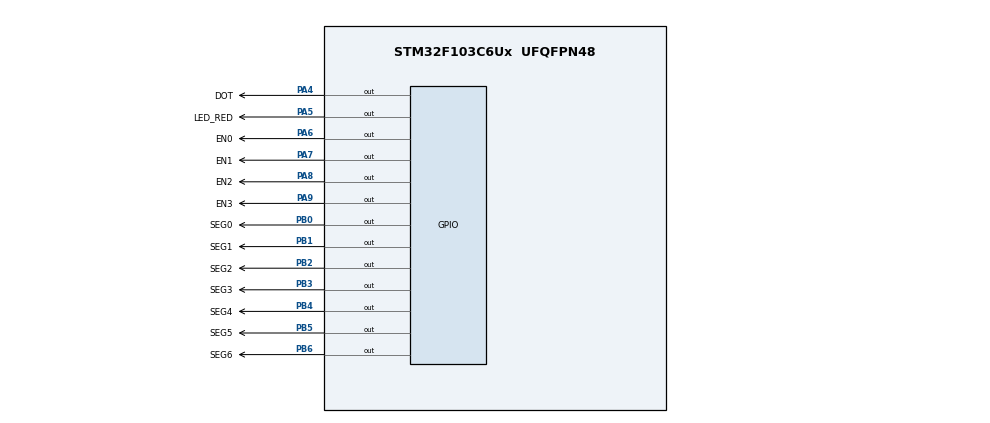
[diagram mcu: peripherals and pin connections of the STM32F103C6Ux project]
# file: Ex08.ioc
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Mcu.Family=STM32F1
Mcu.Name=STM32F103C6Ux
Mcu.Package=UFQFPN48
NVIC.PriorityGroup=NVIC_PRIORITYGROUP_4
NVIC.TIM2_IRQn=true\:0\:0\:false\:false\:true\:true\:true
PA4.GPIO_Label=DOT
PA4.Signal=GPIO_Output
PA5.GPIO_Label=LED_RED
PA5.Signal=GPIO_Output
PA6.GPIO_Label=EN0
PA6.Signal=GPIO_Output
PA7.GPIO_Label=EN1
PA7.Signal=GPIO_Output
PA8.GPIO_Label=EN2
PA8.Signal=GPIO_Output
PA9.GPIO_Label=EN3
PA9.Signal=GPIO_Output
PB0.GPIO_Label=SEG0
PB0.Signal=GPIO_Output
PB1.GPIO_Label=SEG1
PB1.Signal=GPIO_Output
PB2.GPIO_Label=SEG2
PB2.Signal=GPIO_Output
PB3.GPIO_Label=SEG3
PB3.Signal=GPIO_Output
PB4.GPIO_Label=SEG4
PB4.Signal=GPIO_Output
PB5.GPIO_Label=SEG5
PB5.Signal=GPIO_Output
PB6.GPIO_Label=SEG6
PB6.Signal=GPIO_Output
ProjectManager.HeapSize=0x200
ProjectManager.StackSize=0x400
ProjectManager.TargetToolchain=STM32CubeIDE
RCC.APB1Freq_Value=8000000
RCC.APB2Freq_Value=8000000
TIM2.Period=9
TIM2.Prescaler=7999
VP_SYS_VS_ND.Mode=No_Debug
VP_TIM2_VS_ClockSourceINT.Mode=Internal
board=custom

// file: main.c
/* USER CODE BEGIN Header */
/**
  ******************************************************************************
  * @file           : main.c
  * @brief          : Main program body
  ******************************************************************************
  * @attention
  *
  * <h2><center>&copy; Copyright (c) 2024 STMicroelectronics.
  * All rights reserved.</center></h2>
  *
  * This software component is licensed by ST under BSD 3-Clause license,
  * the "License"; You may not use this file except in compliance with the
  * License. You may obtain a copy of the License at:
  *                        opensource.org/licenses/BSD-3-Clause
  *
  ******************************************************************************
  */
/* USER CODE END Header */
#include "main.h"

TIM_HandleTypeDef htim2;

/* USER CODE BEGIN PV */
const int MAX_LED = 4;
int index_led = 0;
int led_buffer[4] = {1 , 5 , 0 , 8};
int hour = 15 , minute = 8 , second = 50;
/* USER CODE END PV */

void SystemClock_Config(void);
static void MX_GPIO_Init(void);
static void MX_TIM2_Init(void);
/* USER CODE BEGIN PFP */
void updateClockBuffer(void);
void display7SEG(int);
void update7SEG(int);
/* USER CODE END PFP */

/* USER CODE BEGIN 0 */
int timer0_counter = 0;
int timer0_flag = 0;
int timer1_counter = 0;
int timer1_flag = 0;
int timer2_counter = 0;
int timer2_flag = 0;
int TIMER_CYCLE = 10;
void setTimer0(int  duration){
	timer0_counter = duration / TIMER_CYCLE;
	timer0_flag = 0;
}
void setTimer1(int  duration){
	timer1_counter = duration / TIMER_CYCLE;
	timer1_flag = 0;
}
void setTimer2(int  duration){
	timer2_counter = duration / TIMER_CYCLE;
	timer2_flag = 0;
}
void timer_run(){
	if(timer0_counter > 0){
		timer0_counter--;
		if(timer0_counter == 0) timer0_flag = 1;
	}
	if(timer1_counter > 0){
		timer1_counter--;
		if(timer1_counter == 0) timer1_flag = 1;
	}
	if(timer2_counter > 0){
			timer2_counter--;
			if(timer2_counter == 0) timer1_flag = 1;
		}
}
/* USER CODE END 0 */

int main(void)
{

  /* MCU Configuration--------------------------------------------------------*/

  /* Reset of all peripherals, Initializes the Flash interface and the Systick. */
  HAL_Init();

  /* Configure the system clock */
  SystemClock_Config();

  /* Initialize all configured peripherals */
  MX_GPIO_Init();
  MX_TIM2_Init();
  /* USER CODE BEGIN 2 */
  HAL_TIM_Base_Start_IT(&htim2);
  /* USER CODE END 2 */

  /* Infinite loop */
  /* USER CODE BEGIN WHILE */
  setTimer0(1000);
  setTimer1(1000);
  setTimer2(1000);
  while (1)
  {
    /* USER CODE END WHILE */
	  if(timer0_flag == 1){

		  second++;
		  if (second >= 60)
		  {
			  second = 0;
			  minute++;
		  }
		  if (minute >= 60){
			  minute =0;
			  hour++;
		  }
		  if (hour >= 24){
			  hour=0;
		  }

		  updateClockBuffer();
		  setTimer0(2000);
	   }
	   if (timer1_flag == 1){
		   HAL_GPIO_TogglePin(GPIOA,DOT_Pin);
		   setTimer1(2000);
	   }
	   if (timer2_flag == 1){
 		  update7SEG(index_led++);
 		  setTimer2(2000);

	   }
  }
}

void SystemClock_Config(void)
{
  RCC_OscInitTypeDef RCC_OscInitStruct = {0};
  RCC_ClkInitTypeDef RCC_ClkInitStruct = {0};

  /** Initializes the RCC Oscillators according to the specified parameters
  * in the RCC_OscInitTypeDef structure.
  */
  RCC_OscInitStruct.OscillatorType = RCC_OSCILLATORTYPE_HSI;
  RCC_OscInitStruct.HSIState = RCC_HSI_ON;
  RCC_OscInitStruct.HSICalibrationValue = RCC_HSICALIBRATION_DEFAULT;
  RCC_OscInitStruct.PLL.PLLState = RCC_PLL_NONE;
  if (HAL_RCC_OscConfig(&RCC_OscInitStruct) != HAL_OK)
  {
    Error_Handler();
  }
  /** Initializes the CPU, AHB and APB buses clocks
  */
  RCC_ClkInitStruct.ClockType = RCC_CLOCKTYPE_HCLK|RCC_CLOCKTYPE_SYSCLK
                              |RCC_CLOCKTYPE_PCLK1|RCC_CLOCKTYPE_PCLK2;
  RCC_ClkInitStruct.SYSCLKSource = RCC_SYSCLKSOURCE_HSI;
  RCC_ClkInitStruct.AHBCLKDivider = RCC_SYSCLK_DIV1;
  RCC_ClkInitStruct.APB1CLKDivider = RCC_HCLK_DIV1;
  RCC_ClkInitStruct.APB2CLKDivider = RCC_HCLK_DIV1;

  if (HAL_RCC_ClockConfig(&RCC_ClkInitStruct, FLASH_LATENCY_0) != HAL_OK)
  {
    Error_Handler();
  }
}

static void MX_TIM2_Init(void)
{

  TIM_ClockConfigTypeDef sClockSourceConfig = {0};
  TIM_MasterConfigTypeDef sMasterConfig = {0};

  htim2.Instance = TIM2;
  htim2.Init.Prescaler = 7999;
  htim2.Init.CounterMode = TIM_COUNTERMODE_UP;
  htim2.Init.Period = 9;
  htim2.Init.ClockDivision = TIM_CLOCKDIVISION_DIV1;
  htim2.Init.AutoReloadPreload = TIM_AUTORELOAD_PRELOAD_DISABLE;
  if (HAL_TIM_Base_Init(&htim2) != HAL_OK)
  {
    Error_Handler();
  }
  sClockSourceConfig.ClockSource = TIM_CLOCKSOURCE_INTERNAL;
  if (HAL_TIM_ConfigClockSource(&htim2, &sClockSourceConfig) != HAL_OK)
  {
    Error_Handler();
  }
  sMasterConfig.MasterOutputTrigger = TIM_TRGO_RESET;
  sMasterConfig.MasterSlaveMode = TIM_MASTERSLAVEMODE_DISABLE;
  if (HAL_TIMEx_MasterConfigSynchronization(&htim2, &sMasterConfig) != HAL_OK)
  {
    Error_Handler();
  }

}

static void MX_GPIO_Init(void)
{
  GPIO_InitTypeDef GPIO_InitStruct = {0};

  /* GPIO Ports Clock Enable */
  __HAL_RCC_GPIOA_CLK_ENABLE();
  __HAL_RCC_GPIOB_CLK_ENABLE();

  /*Configure GPIO pin Output Level */
  HAL_GPIO_WritePin(GPIOA, DOT_Pin|LED_RED_Pin|EN0_Pin|EN1_Pin
                          |EN2_Pin|EN3_Pin, GPIO_PIN_RESET);

  /*Configure GPIO pin Output Level */
  HAL_GPIO_WritePin(GPIOB, SEG0_Pin|SEG1_Pin|SEG2_Pin|SEG3_Pin
                          |SEG4_Pin|SEG5_Pin|SEG6_Pin, GPIO_PIN_RESET);

  /*Configure GPIO pins : DOT_Pin RED_LED_Pin EN0_Pin EN1_Pin
                           EN2_Pin EN3_Pin */
  GPIO_InitStruct.Pin = DOT_Pin|LED_RED_Pin|EN0_Pin|EN1_Pin
                          |EN2_Pin|EN3_Pin;
  GPIO_InitStruct.Mode = GPIO_MODE_OUTPUT_PP;
  GPIO_InitStruct.Pull = GPIO_NOPULL;
  GPIO_InitStruct.Speed = GPIO_SPEED_FREQ_LOW;
  HAL_GPIO_Init(GPIOA, &GPIO_InitStruct);

  /*Configure GPIO pins : SEG0_Pin SEG1_Pin SEG2_Pin SEG3_Pin
                           SEG4_Pin SEG5_Pin SEG6_Pin */
  GPIO_InitStruct.Pin = SEG0_Pin|SEG1_Pin|SEG2_Pin|SEG3_Pin
                          |SEG4_Pin|SEG5_Pin|SEG6_Pin;
  GPIO_InitStruct.Mode = GPIO_MODE_OUTPUT_PP;
  GPIO_InitStruct.Pull = GPIO_NOPULL;
  GPIO_InitStruct.Speed = GPIO_SPEED_FREQ_LOW;
  HAL_GPIO_Init(GPIOB, &GPIO_InitStruct);

}

/* USER CODE BEGIN 4 */
int counter = 50 ;
void HAL_TIM_PeriodElapsedCallback ( TIM_HandleTypeDef * htim )
{

	timer_run();

	//YOUR OTHER CODE
	counter --;
	if(counter <= 0) {
		counter = 50;
		update7SEG(index_led ++) ;
		if (index_led >= 4) {
			index_led = 0;
		}

	}
}
void updateClockBuffer(void)
{
  led_buffer[0] = hour / 10;
  led_buffer[1] = hour % 10;
  led_buffer[2] = minute / 10;
  led_buffer[3] = minute % 10;
}

void update7SEG(int index) {
    switch (index) {
        case 0:
			HAL_GPIO_WritePin(GPIOA, EN0_Pin, GPIO_PIN_RESET) ;
			HAL_GPIO_WritePin(GPIOA, EN1_Pin | EN2_Pin | EN3_Pin | DOT_Pin, GPIO_PIN_SET) ;
            display7SEG(led_buffer[0]);
            break;
        case 1:
        	HAL_GPIO_WritePin(GPIOA, EN1_Pin | DOT_Pin, GPIO_PIN_RESET) ;
        	HAL_GPIO_WritePin(GPIOA, EN0_Pin | EN2_Pin | EN3_Pin , GPIO_PIN_SET) ;
            display7SEG(led_buffer[1]);
            break;
        case 2:
         	HAL_GPIO_WritePin(GPIOA, EN2_Pin , GPIO_PIN_RESET) ;
       	    HAL_GPIO_WritePin(GPIOA, EN0_Pin | EN1_Pin | EN3_Pin | DOT_Pin, GPIO_PIN_SET) ;
            display7SEG(led_buffer[2]);
            break;
        case 3:
        	HAL_GPIO_WritePin(GPIOA, EN3_Pin | DOT_Pin, GPIO_PIN_RESET) ;
        	HAL_GPIO_WritePin(GPIOA, EN0_Pin | EN1_Pin | EN2_Pin , GPIO_PIN_SET) ;
            display7SEG(led_buffer[3]);
            break;
        default:
            break;
    }
}
void display7SEG(int num)
{
  switch(num)
  {
    case 0:
      HAL_GPIO_WritePin(GPIOB, SEG0_Pin|SEG1_Pin|SEG2_Pin|SEG3_Pin|SEG4_Pin|SEG5_Pin, GPIO_PIN_RESET);
      HAL_GPIO_WritePin(GPIOB, SEG6_Pin, GPIO_PIN_SET);  // Display '0'
      break;
    case 1:
      HAL_GPIO_WritePin(GPIOB, SEG1_Pin|SEG2_Pin, GPIO_PIN_RESET);
      HAL_GPIO_WritePin(GPIOB, SEG0_Pin|SEG3_Pin|SEG4_Pin|SEG5_Pin|SEG6_Pin, GPIO_PIN_SET);  // Display '1'
      break;
    case 2:
      HAL_GPIO_WritePin(GPIOB, SEG0_Pin|SEG1_Pin|SEG3_Pin|SEG4_Pin|SEG6_Pin, GPIO_PIN_RESET);
      HAL_GPIO_WritePin(GPIOB, SEG2_Pin|SEG5_Pin, GPIO_PIN_SET);  // Display '2'
      break;
    case 3:
      HAL_GPIO_WritePin(GPIOB, SEG0_Pin|SEG1_Pin|SEG2_Pin|SEG3_Pin|SEG6_Pin, GPIO_PIN_RESET);
      HAL_GPIO_WritePin(GPIOB, SEG4_Pin|SEG5_Pin, GPIO_PIN_SET);  // Display '3'
      break;
    case 4:
      HAL_GPIO_WritePin(GPIOB, SEG1_Pin|SEG2_Pin|SEG5_Pin|SEG6_Pin, GPIO_PIN_RESET);
      HAL_GPIO_WritePin(GPIOB, SEG0_Pin|SEG3_Pin|SEG4_Pin, GPIO_PIN_SET);  // Display '4'
      break;
    case 5:
      HAL_GPIO_WritePin(GPIOB, SEG0_Pin|SEG2_Pin|SEG3_Pin|SEG5_Pin|SEG6_Pin, GPIO_PIN_RESET);
      HAL_GPIO_WritePin(GPIOB, SEG1_Pin|SEG4_Pin, GPIO_PIN_SET);  // Display '5'
      break;
    case 6:
      HAL_GPIO_WritePin(GPIOB, SEG0_Pin|SEG2_Pin|SEG3_Pin|SEG4_Pin|SEG5_Pin|SEG6_Pin, GPIO_PIN_RESET);
      HAL_GPIO_WritePin(GPIOB, SEG1_Pin, GPIO_PIN_SET);  // Display '6'
      break;
    case 7:
      HAL_GPIO_WritePin(GPIOB, SEG0_Pin|SEG1_Pin|SEG2_Pin, GPIO_PIN_RESET);
      HAL_GPIO_WritePin(GPIOB, SEG3_Pin|SEG4_Pin|SEG5_Pin|SEG6_Pin, GPIO_PIN_SET);  // Display '7'
      break;
    case 8:
      HAL_GPIO_WritePin(GPIOB, SEG0_Pin|SEG1_Pin|SEG2_Pin|SEG3_Pin|SEG4_Pin|SEG5_Pin|SEG6_Pin, GPIO_PIN_RESET);  // Display '8'
      break;
    case 9:
      HAL_GPIO_WritePin(GPIOB, SEG0_Pin|SEG1_Pin|SEG2_Pin|SEG3_Pin|SEG5_Pin|SEG6_Pin, GPIO_PIN_RESET);
      HAL_GPIO_WritePin(GPIOB, SEG4_Pin, GPIO_PIN_SET);  // Display '9'
      break;
    default:
      break;
  }
}
/* USER CODE END 4 */

void Error_Handler(void)
{
  __disable_irq();
  while (1)
  {
  }
}
